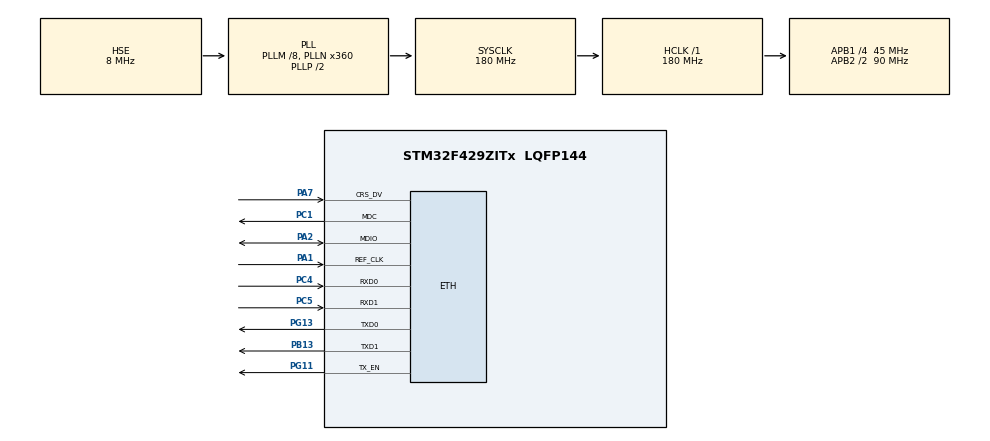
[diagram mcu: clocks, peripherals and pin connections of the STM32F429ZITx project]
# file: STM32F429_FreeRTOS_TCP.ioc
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ETH.MediaInterface=HAL_ETH_RMII_MODE
ETH.RxMode=ETH_RXINTERRUPT_MODE
FREERTOS.HEAP_NUMBER=2
FREERTOS.Tasks01=defaultTask,24,128,StartDefaultTask,Default,NULL,Dynamic,NULL,NULL
FREERTOS.configENABLE_FPU=1
FREERTOS.configUSE_NEWLIB_REENTRANT=1
Mcu.Family=STM32F4
Mcu.Name=STM32F429ZITx
Mcu.Package=LQFP144
NVIC.ETH_IRQn=true\:5\:0\:false\:false\:true\:true\:true\:true\:true
NVIC.PriorityGroup=NVIC_PRIORITYGROUP_4
PA1.Mode=RMII
PA1.Signal=ETH_REF_CLK
PA13.Mode=Serial_Wire
PA13.Signal=SYS_JTMS-SWDIO
PA14.Mode=Serial_Wire
PA14.Signal=SYS_JTCK-SWCLK
PA2.Mode=RMII
PA2.Signal=ETH_MDIO
PA7.Mode=RMII
PA7.Signal=ETH_CRS_DV
PB13.Mode=RMII
PB13.Signal=ETH_TXD1
PC1.Mode=RMII
PC1.Signal=ETH_MDC
PC4.Mode=RMII
PC4.Signal=ETH_RXD0
PC5.Mode=RMII
PC5.Signal=ETH_RXD1
PG11.Mode=RMII
PG11.Signal=ETH_TX_EN
PG13.Mode=RMII
PG13.Signal=ETH_TXD0
PH0/OSC_IN.Mode=HSE-External-Oscillator
PH0/OSC_IN.Signal=RCC_OSC_IN
PH1/OSC_OUT.Mode=HSE-External-Oscillator
PH1/OSC_OUT.Signal=RCC_OSC_OUT
ProjectManager.HeapSize=0x200
ProjectManager.StackSize=0x400
ProjectManager.TargetToolchain=STM32CubeIDE
RCC.48MHZClocksFreq_Value=45000000
RCC.AHBFreq_Value=180000000
RCC.APB1CLKDivider=RCC_HCLK_DIV4
RCC.APB1Freq_Value=45000000
RCC.APB1TimFreq_Value=90000000
RCC.APB2CLKDivider=RCC_HCLK_DIV2
RCC.APB2Freq_Value=90000000
RCC.APB2TimFreq_Value=180000000
RCC.CortexFreq_Value=180000000
RCC.HCLKFreq_Value=180000000
RCC.HSE_VALUE=8000000
RCC.HSI_VALUE=16000000
RCC.LSE_VALUE=32768
RCC.PLLM=8
RCC.PLLN=360
RCC.PLLQ=8
RCC.PLLSourceVirtual=RCC_PLLSOURCE_HSE
RCC.SYSCLKFreq_VALUE=180000000
RCC.SYSCLKSource=RCC_SYSCLKSOURCE_PLLCLK
RCC.VCOOutputFreq_Value=360000000
VP_FREERTOS_VS_CMSIS_V2.Mode=CMSIS_V2
VP_RNG_VS_RNG.Mode=RNG_Activate
board=custom

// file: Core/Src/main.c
/* USER CODE BEGIN Header */
/**
  ******************************************************************************
  * @file           : main.c
  * @brief          : Main program body
  ******************************************************************************
  * @attention
  *
  * Copyright (c) 2022 STMicroelectronics.
  * All rights reserved.
  *
  * This software is licensed under terms that can be found in the LICENSE file
  * in the root directory of this software component.
  * If no LICENSE file comes with this software, it is provided AS-IS.
  *
  ******************************************************************************
  */
/* USER CODE END Header */
#include "main.h"
#include "string.h"
#include "cmsis_os.h"

/* USER CODE BEGIN Includes */

#include "FreeRTOS_IP.h"

/* USER CODE END Includes */

/* USER CODE BEGIN PM */

// Disable code autogenerated by CubeMX, we'll do it ourselves
#if 0
/* USER CODE END PM */

ETH_TxPacketConfig TxConfig;
ETH_DMADescTypeDef  DMARxDscrTab[ETH_RX_DESC_CNT]; /* Ethernet Rx DMA Descriptors */
ETH_DMADescTypeDef  DMATxDscrTab[ETH_TX_DESC_CNT]; /* Ethernet Tx DMA Descriptors */

ETH_HandleTypeDef heth;

RNG_HandleTypeDef hrng;

/* Definitions for defaultTask */
osThreadId_t defaultTaskHandle;
const osThreadAttr_t defaultTask_attributes = {
  .name = "defaultTask",
  .stack_size = 128 * 4,
  .priority = (osPriority_t) osPriorityNormal,
};
/* USER CODE BEGIN PV */
#endif

RNG_HandleTypeDef hrng;

/* Definitions for defaultTask */
osThreadId_t defaultTaskHandle;
const osThreadAttr_t defaultTask_attributes = {
  .name = "defaultTask",
  .stack_size = 128 * 4,
  .priority = (osPriority_t) osPriorityNormal,
};

/* USER CODE END PV */

void SystemClock_Config(void);
static void MX_GPIO_Init(void);
static void MX_ETH_Init(void);
static void MX_RNG_Init(void);
void StartDefaultTask(void *argument);

int main(void)
{
  /* USER CODE BEGIN 1 */
	const uint8_t ucIPAddress[ ipIP_ADDRESS_LENGTH_BYTES ] = { 192, 168, 1, 116 };
	const uint8_t ucNetMask[ ipIP_ADDRESS_LENGTH_BYTES ] = { 255, 255, 255, 0 };
	const uint8_t ucGatewayAddress[ ipIP_ADDRESS_LENGTH_BYTES ] = { 192, 168, 1, 1 };
	const uint8_t ucDNSServerAddress[ ipIP_ADDRESS_LENGTH_BYTES ] = { 8, 8, 8, 8 };

	const uint8_t ucMACAddress[ ipMAC_ADDRESS_LENGTH_BYTES ] = { 0x00, 0x80, 0xe1, 0x00, 0x00, 0x01 };

  /* USER CODE END 1 */

  /* MCU Configuration--------------------------------------------------------*/

  /* Reset of all peripherals, Initializes the Flash interface and the Systick. */
  HAL_Init();

  /* Configure the system clock */
  SystemClock_Config();

  /* Initialize all configured peripherals */
  MX_GPIO_Init();
  MX_ETH_Init();
  MX_RNG_Init();
  /* USER CODE BEGIN 2 */

  /* Initialise the IP Stack */
  FreeRTOS_IPInit( ucIPAddress, ucNetMask, ucGatewayAddress, ucDNSServerAddress, ucMACAddress );

  /* USER CODE END 2 */

  /* Init scheduler */
  osKernelInitialize();
/* USER CODE BEGIN Header */
/**
  ******************************************************************************
  * @file           : main.c
  * @brief          : Main program body
  ******************************************************************************
  * @attention
  *
  * Copyright (c) 2022 STMicroelectronics.
  * All rights reserved.
  *
  * This software is licensed under terms that can be found in the LICENSE file
  * in the root directory of this software component.
  * If no LICENSE file comes with this software, it is provided AS-IS.
  *
  ******************************************************************************
  */
/* USER CODE END Header */

  /* Start scheduler */
  osKernelStart();

  /* We should never get here as control is now taken by the scheduler */
  /* Infinite loop */
  while (1)
  {

  }
}

void SystemClock_Config(void)
{
  RCC_OscInitTypeDef RCC_OscInitStruct = {0};
  RCC_ClkInitTypeDef RCC_ClkInitStruct = {0};

  /** Configure the main internal regulator output voltage
  */
  __HAL_RCC_PWR_CLK_ENABLE();
  __HAL_PWR_VOLTAGESCALING_CONFIG(PWR_REGULATOR_VOLTAGE_SCALE1);

  /** Initializes the RCC Oscillators according to the specified parameters
  * in the RCC_OscInitTypeDef structure.
  */
  RCC_OscInitStruct.OscillatorType = RCC_OSCILLATORTYPE_HSE;
  RCC_OscInitStruct.HSEState = RCC_HSE_ON;
  RCC_OscInitStruct.PLL.PLLState = RCC_PLL_ON;
  RCC_OscInitStruct.PLL.PLLSource = RCC_PLLSOURCE_HSE;
  RCC_OscInitStruct.PLL.PLLM = 8;
  RCC_OscInitStruct.PLL.PLLN = 360;
  RCC_OscInitStruct.PLL.PLLP = RCC_PLLP_DIV2;
  RCC_OscInitStruct.PLL.PLLQ = 8;
  if (HAL_RCC_OscConfig(&RCC_OscInitStruct) != HAL_OK)
  {
    Error_Handler();
  }

  /** Activate the Over-Drive mode
  */
  if (HAL_PWREx_EnableOverDrive() != HAL_OK)
  {
    Error_Handler();
  }

  /** Initializes the CPU, AHB and APB buses clocks
  */
  RCC_ClkInitStruct.ClockType = RCC_CLOCKTYPE_HCLK|RCC_CLOCKTYPE_SYSCLK
                              |RCC_CLOCKTYPE_PCLK1|RCC_CLOCKTYPE_PCLK2;
  RCC_ClkInitStruct.SYSCLKSource = RCC_SYSCLKSOURCE_PLLCLK;
  RCC_ClkInitStruct.AHBCLKDivider = RCC_SYSCLK_DIV1;
  RCC_ClkInitStruct.APB1CLKDivider = RCC_HCLK_DIV4;
  RCC_ClkInitStruct.APB2CLKDivider = RCC_HCLK_DIV2;

  if (HAL_RCC_ClockConfig(&RCC_ClkInitStruct, FLASH_LATENCY_5) != HAL_OK)
  {
    Error_Handler();
  }
}

static void MX_ETH_Init(void)
{

  /* USER CODE BEGIN ETH_Init 0 */

	//Disable CubeMX autogenerated code here, Ethernet interface is initialised in FreeRTOS-Plus-TCP NetworkInterface.c in xNetworkInterfaceInitialise
#if 0
  /* USER CODE END ETH_Init 0 */

   static uint8_t MACAddr[6];

  heth.Instance = ETH;
  MACAddr[0] = 0x00;
  MACAddr[1] = 0x80;
  MACAddr[2] = 0xE1;
  MACAddr[3] = 0x00;
  MACAddr[4] = 0x00;
  MACAddr[5] = 0x00;
  heth.Init.MACAddr = &MACAddr[0];
  heth.Init.MediaInterface = HAL_ETH_RMII_MODE;
  heth.Init.TxDesc = DMATxDscrTab;
  heth.Init.RxDesc = DMARxDscrTab;
  heth.Init.RxBuffLen = 1524;

  if (HAL_ETH_Init(&heth) != HAL_OK)
  {
    Error_Handler();
  }

  memset(&TxConfig, 0 , sizeof(ETH_TxPacketConfig));
  TxConfig.Attributes = ETH_TX_PACKETS_FEATURES_CSUM | ETH_TX_PACKETS_FEATURES_CRCPAD;
  TxConfig.ChecksumCtrl = ETH_CHECKSUM_IPHDR_PAYLOAD_INSERT_PHDR_CALC;
  TxConfig.CRCPadCtrl = ETH_CRC_PAD_INSERT;
  /* USER CODE BEGIN ETH_Init 2 */
#endif
  /* USER CODE END ETH_Init 2 */

}

static void MX_RNG_Init(void)
{

  hrng.Instance = RNG;
  if (HAL_RNG_Init(&hrng) != HAL_OK)
  {
    Error_Handler();
  }

}

static void MX_GPIO_Init(void)
{

  /* GPIO Ports Clock Enable */
  __HAL_RCC_GPIOH_CLK_ENABLE();
  __HAL_RCC_GPIOC_CLK_ENABLE();
  __HAL_RCC_GPIOA_CLK_ENABLE();
  __HAL_RCC_GPIOB_CLK_ENABLE();
  __HAL_RCC_GPIOG_CLK_ENABLE();

}

/* USER CODE BEGIN 4 */

// Function required by FreeRTOS-Plus-TCP
BaseType_t xApplicationGetRandomNumber( uint32_t *pulValue )
{
	HAL_StatusTypeDef xResult;
	BaseType_t xReturn;
	uint32_t ulValue;

	xResult = HAL_RNG_GenerateRandomNumber( &hrng, &ulValue );
	if( xResult == HAL_OK )
	{
		xReturn = pdPASS;
		*pulValue = ulValue;
	}
	else
	{
		xReturn = pdFAIL;
	}
	return xReturn;
}

// Function required by FreeRTOS-Plus-TCP
uint32_t ulApplicationGetNextSequenceNumber(uint32_t ulSourceAddress, uint16_t usSourcePort, uint32_t ulDestinationAddress, uint16_t usDestinationPort)
{

	return 0x12345678;
}

/* Called by FreeRTOS+TCP when the network connects or disconnects.  Disconnect
events are only received if implemented in the MAC driver. */
void vApplicationIPNetworkEventHook( eIPCallbackEvent_t eNetworkEvent )
{
	uint32_t ulIPAddress, ulNetMask, ulGatewayAddress, ulDNSServerAddress;
	char cBuffer[ 16 ];
	static BaseType_t xTasksAlreadyCreated = pdFALSE;

	/* If the network has just come up...*/
	if( eNetworkEvent == eNetworkUp )
	{
		/* Create the tasks that use the IP stack if they have not already been
		created. */
		if( xTasksAlreadyCreated == pdFALSE )
		{
			/* Demos that use the network are created after the network is
			up. */
//			configPRINTF( ( "---------STARTING DEMO---------\r\n" ) );
//			vStartSimpleMQTTDemo();
			xTasksAlreadyCreated = pdTRUE;
		}

		/* Print out the network configuration, which may have come from a DHCP
		server. */
		FreeRTOS_GetAddressConfiguration( &ulIPAddress, &ulNetMask, &ulGatewayAddress, &ulDNSServerAddress );
		FreeRTOS_inet_ntoa( ulIPAddress, cBuffer );
		FreeRTOS_printf( ( "\r\n\r\nIP Address: %s\r\n", cBuffer ) ); /*_RB_ Should use IoT libraries logging. */

		FreeRTOS_inet_ntoa( ulNetMask, cBuffer );
		FreeRTOS_printf( ( "Subnet Mask: %s\r\n", cBuffer ) );

		FreeRTOS_inet_ntoa( ulGatewayAddress, cBuffer );
		FreeRTOS_printf( ( "Gateway Address: %s\r\n", cBuffer ) );

		FreeRTOS_inet_ntoa( ulDNSServerAddress, cBuffer );
		FreeRTOS_printf( ( "DNS Server Address: %s\r\n\r\n\r\n", cBuffer ) );
	}
}

#if( ipconfigUSE_DHCP_HOOK != 0 )
eDHCPCallbackAnswer_t xApplicationDHCPHook( eDHCPCallbackPhase_t eDHCPPhase, uint32_t ulIPAddress )
{
	eDHCPCallbackAnswer_t eAnswer = eDHCPContinue;

	const char *name = "Unknown";
	switch( eDHCPPhase )
	{
	case eDHCPPhasePreDiscover:
		{
			name = "Discover";			/* Driver is about to send a DHCP discovery. */
//#warning Testing here
//			eAnswer = eDHCPUseDefaults;
		}
		break;
	case eDHCPPhasePreRequest:
		{
			name = "Request";			/* Driver is about to request DHCP an IP address. */
//#warning Testing here
//			eAnswer = eDHCPUseDefaults;
		}
		break;
	}
	FreeRTOS_printf( ( "DHCP %s address %lxip\n", name, FreeRTOS_ntohl( ulIPAddress ) ) );
	return eAnswer;
}
#endif	/* ipconfigUSE_DHCP_HOOK */

// Callback from FreeRTOS-Plus-TCP called when a response to an ICMP ping request is received
void vApplicationPingReplyHook( ePingReplyStatus_t eStatus, uint16_t usIdentifier )
{

}

/* USER CODE END 4 */

void StartDefaultTask(void *argument)
{
  for(;;)
  {
    osDelay(1);
  }
}

void Error_Handler(void)
{
  __disable_irq();
  while (1)
  {
  }
}
